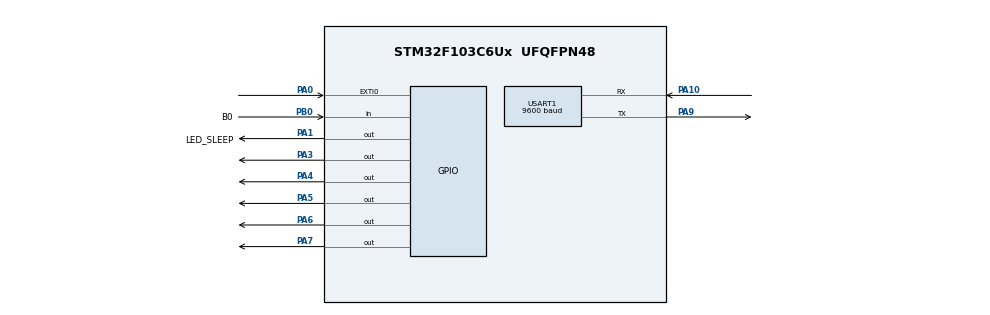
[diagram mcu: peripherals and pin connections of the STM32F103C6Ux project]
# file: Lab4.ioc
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IWDG.Prescaler=IWDG_PRESCALER_32
IWDG.Reload=4095
Mcu.Family=STM32F1
Mcu.Name=STM32F103C6Ux
Mcu.Package=UFQFPN48
NVIC.EXTI0_IRQn=true\:0\:0\:false\:false\:true\:true\:true
NVIC.PriorityGroup=NVIC_PRIORITYGROUP_4
NVIC.TIM2_IRQn=true\:0\:0\:false\:false\:true\:true\:true
NVIC.TIM3_IRQn=true\:0\:0\:false\:false\:true\:true\:true
PA0-WKUP.GPIO_ModeDefaultEXTI=GPIO_MODE_IT_FALLING
PA0-WKUP.GPIO_PuPd=GPIO_PULLUP
PA0-WKUP.Signal=GPXTI0
PA1.GPIO_Label=LED_SLEEP
PA1.Signal=GPIO_Output
PA10.Mode=Asynchronous
PA10.Signal=USART1_RX
PA13.Mode=Serial_Wire
PA13.Signal=SYS_JTMS-SWDIO
PA14.Mode=Serial_Wire
PA14.Signal=SYS_JTCK-SWCLK
PA3.Signal=GPIO_Output
PA4.Signal=GPIO_Output
PA5.Signal=GPIO_Output
PA6.Signal=GPIO_Output
PA7.Signal=GPIO_Output
PA9.Mode=Asynchronous
PA9.Signal=USART1_TX
PB0.GPIO_Label=B0
PB0.GPIO_PuPd=GPIO_PULLUP
PB0.Signal=GPIO_Input
ProjectManager.HeapSize=0x200
ProjectManager.StackSize=0x400
ProjectManager.TargetToolchain=STM32CubeIDE
RCC.APB1Freq_Value=8000000
RCC.APB2Freq_Value=8000000
TIM2.Period=9
TIM2.Prescaler=7999
TIM3.Period=79
TIM3.Prescaler=49999
USART1.BaudRate=9600
USART1.VirtualMode=VM_ASYNC
VP_IWDG_VS_IWDG.Mode=IWDG_Activate
VP_TIM2_VS_ClockSourceINT.Mode=Internal
VP_TIM3_VS_ClockSourceINT.Mode=Internal
board=custom

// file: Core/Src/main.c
/* USER CODE BEGIN Header */
/**
  ******************************************************************************
  * @file           : main.c
  * @brief          : Main program body
  ******************************************************************************
  * @attention
  *
  * <h2><center>&copy; Copyright (c) 2023 STMicroelectronics.
  * All rights reserved.</center></h2>
  *
  * This software component is licensed by ST under BSD 3-Clause license,
  * the "License"; You may not use this file except in compliance with the
  * License. You may obtain a copy of the License at:
  *                        opensource.org/licenses/BSD-3-Clause
  *
  ******************************************************************************
  */
/* USER CODE END Header */
#include "main.h"

/* USER CODE BEGIN Includes */
#include <stdio.h>
#include "scheduler.h"
#include "task.h"
#include "global.h"
#include "watchdog.h"
/* USER CODE END Includes */

IWDG_HandleTypeDef hiwdg;

TIM_HandleTypeDef htim2;
TIM_HandleTypeDef htim3;

UART_HandleTypeDef huart1;

void SystemClock_Config(void);
static void MX_GPIO_Init(void);
static void MX_USART1_UART_Init(void);
static void MX_IWDG_Init(void);
static void MX_TIM2_Init(void);
static void MX_TIM3_Init(void);

/* USER CODE BEGIN 0 */
void SCH_Go_To_Sleep() {
	HAL_SuspendTick();
	HAL_GPIO_WritePin(LED_SLEEP_GPIO_Port, LED_SLEEP_Pin, 0); // Just to indicate sleep mode is active
	HAL_PWR_EnterSLEEPMode(PWR_MAINREGULATOR_ON, PWR_SLEEPENTRY_WFI);
	HAL_ResumeTick();
}
/* USER CODE END 0 */

int main(void)
{

  /* MCU Configuration--------------------------------------------------------*/

  /* Reset of all peripherals, Initializes the Flash interface and the Systick. */
  HAL_Init();

  /* Configure the system clock */
  SystemClock_Config();

  /* Initialize all configured peripherals */
  MX_GPIO_Init();
  MX_USART1_UART_Init();
  MX_IWDG_Init();
  MX_TIM2_Init();
  MX_TIM3_Init();
  /* USER CODE BEGIN 2 */
  HAL_TIM_Base_Start_IT(&htim2);
  HAL_TIM_Base_Start_IT(&htim3);
  /* USER CODE END 2 */

  /* Infinite loop */
  /* USER CODE BEGIN WHILE */

  SCH_Add_Task(&task0, 0, 50);
  SCH_Add_Task(&task1, 3, 100);
  SCH_Add_Task(&task2, 5, 150);
  SCH_Add_Task(&task3, 7, 200);
  SCH_Add_Task(&task4, 9, 250);
  find_new_min_task();
  while (1)
  {
    /* USER CODE END WHILE */
	  SCH_Dispatch_Tasks();
	  	  // turn on LED for indicate when not in sleep mode
	  	  HAL_GPIO_WritePin(LED_SLEEP_GPIO_Port, LED_SLEEP_Pin, 0);
	  	  Watchdog_Refresh();

	  	  // SCH go to sleep, wait for any interrupt.
	  	  SCH_Go_To_Sleep();
	  	  // turn of LED for indicate while MCU is sleeping.
	  	  HAL_GPIO_WritePin(LED_SLEEP_GPIO_Port, LED_SLEEP_Pin, 1);
  }
}

void SystemClock_Config(void)
{
  RCC_OscInitTypeDef RCC_OscInitStruct = {0};
  RCC_ClkInitTypeDef RCC_ClkInitStruct = {0};

  /** Initializes the RCC Oscillators according to the specified parameters
  * in the RCC_OscInitTypeDef structure.
  */
  RCC_OscInitStruct.OscillatorType = RCC_OSCILLATORTYPE_HSI|RCC_OSCILLATORTYPE_LSI;
  RCC_OscInitStruct.HSIState = RCC_HSI_ON;
  RCC_OscInitStruct.HSICalibrationValue = RCC_HSICALIBRATION_DEFAULT;
  RCC_OscInitStruct.LSIState = RCC_LSI_ON;
  RCC_OscInitStruct.PLL.PLLState = RCC_PLL_NONE;
  if (HAL_RCC_OscConfig(&RCC_OscInitStruct) != HAL_OK)
  {
    Error_Handler();
  }
  /** Initializes the CPU, AHB and APB buses clocks
  */
  RCC_ClkInitStruct.ClockType = RCC_CLOCKTYPE_HCLK|RCC_CLOCKTYPE_SYSCLK
                              |RCC_CLOCKTYPE_PCLK1|RCC_CLOCKTYPE_PCLK2;
  RCC_ClkInitStruct.SYSCLKSource = RCC_SYSCLKSOURCE_HSI;
  RCC_ClkInitStruct.AHBCLKDivider = RCC_SYSCLK_DIV1;
  RCC_ClkInitStruct.APB1CLKDivider = RCC_HCLK_DIV1;
  RCC_ClkInitStruct.APB2CLKDivider = RCC_HCLK_DIV1;

  if (HAL_RCC_ClockConfig(&RCC_ClkInitStruct, FLASH_LATENCY_0) != HAL_OK)
  {
    Error_Handler();
  }
}

static void MX_IWDG_Init(void)
{

  hiwdg.Instance = IWDG;
  hiwdg.Init.Prescaler = IWDG_PRESCALER_32;
  hiwdg.Init.Reload = 4095;
  if (HAL_IWDG_Init(&hiwdg) != HAL_OK)
  {
    Error_Handler();
  }

}

static void MX_TIM2_Init(void)
{

  TIM_ClockConfigTypeDef sClockSourceConfig = {0};
  TIM_MasterConfigTypeDef sMasterConfig = {0};

  htim2.Instance = TIM2;
  htim2.Init.Prescaler = 7999;
  htim2.Init.CounterMode = TIM_COUNTERMODE_UP;
  htim2.Init.Period = 9;
  htim2.Init.ClockDivision = TIM_CLOCKDIVISION_DIV1;
  htim2.Init.AutoReloadPreload = TIM_AUTORELOAD_PRELOAD_DISABLE;
  if (HAL_TIM_Base_Init(&htim2) != HAL_OK)
  {
    Error_Handler();
  }
  sClockSourceConfig.ClockSource = TIM_CLOCKSOURCE_INTERNAL;
  if (HAL_TIM_ConfigClockSource(&htim2, &sClockSourceConfig) != HAL_OK)
  {
    Error_Handler();
  }
  sMasterConfig.MasterOutputTrigger = TIM_TRGO_RESET;
  sMasterConfig.MasterSlaveMode = TIM_MASTERSLAVEMODE_DISABLE;
  if (HAL_TIMEx_MasterConfigSynchronization(&htim2, &sMasterConfig) != HAL_OK)
  {
    Error_Handler();
  }

}

static void MX_TIM3_Init(void)
{

  TIM_ClockConfigTypeDef sClockSourceConfig = {0};
  TIM_MasterConfigTypeDef sMasterConfig = {0};

  htim3.Instance = TIM3;
  htim3.Init.Prescaler = 49999;
  htim3.Init.CounterMode = TIM_COUNTERMODE_UP;
  htim3.Init.Period = 79;
  htim3.Init.ClockDivision = TIM_CLOCKDIVISION_DIV1;
  htim3.Init.AutoReloadPreload = TIM_AUTORELOAD_PRELOAD_DISABLE;
  if (HAL_TIM_Base_Init(&htim3) != HAL_OK)
  {
    Error_Handler();
  }
  sClockSourceConfig.ClockSource = TIM_CLOCKSOURCE_INTERNAL;
  if (HAL_TIM_ConfigClockSource(&htim3, &sClockSourceConfig) != HAL_OK)
  {
    Error_Handler();
  }
  sMasterConfig.MasterOutputTrigger = TIM_TRGO_RESET;
  sMasterConfig.MasterSlaveMode = TIM_MASTERSLAVEMODE_DISABLE;
  if (HAL_TIMEx_MasterConfigSynchronization(&htim3, &sMasterConfig) != HAL_OK)
  {
    Error_Handler();
  }

}

static void MX_USART1_UART_Init(void)
{

  huart1.Instance = USART1;
  huart1.Init.BaudRate = 9600;
  huart1.Init.WordLength = UART_WORDLENGTH_8B;
  huart1.Init.StopBits = UART_STOPBITS_1;
  huart1.Init.Parity = UART_PARITY_NONE;
  huart1.Init.Mode = UART_MODE_TX_RX;
  huart1.Init.HwFlowCtl = UART_HWCONTROL_NONE;
  huart1.Init.OverSampling = UART_OVERSAMPLING_16;
  if (HAL_UART_Init(&huart1) != HAL_OK)
  {
    Error_Handler();
  }

}

static void MX_GPIO_Init(void)
{
  GPIO_InitTypeDef GPIO_InitStruct = {0};

  /* GPIO Ports Clock Enable */
  __HAL_RCC_GPIOA_CLK_ENABLE();
  __HAL_RCC_GPIOB_CLK_ENABLE();

  /*Configure GPIO pin Output Level */
  HAL_GPIO_WritePin(GPIOA, LED_SLEEP_Pin|GPIO_PIN_3|GPIO_PIN_4|GPIO_PIN_5
                          |GPIO_PIN_6|GPIO_PIN_7, GPIO_PIN_RESET);

  /*Configure GPIO pin : PA0 */
  GPIO_InitStruct.Pin = GPIO_PIN_0;
  GPIO_InitStruct.Mode = GPIO_MODE_IT_FALLING;
  GPIO_InitStruct.Pull = GPIO_PULLUP;
  HAL_GPIO_Init(GPIOA, &GPIO_InitStruct);

  /*Configure GPIO pins : LED_SLEEP_Pin PA3 PA4 PA5
                           PA6 PA7 */
  GPIO_InitStruct.Pin = LED_SLEEP_Pin|GPIO_PIN_3|GPIO_PIN_4|GPIO_PIN_5
                          |GPIO_PIN_6|GPIO_PIN_7;
  GPIO_InitStruct.Mode = GPIO_MODE_OUTPUT_PP;
  GPIO_InitStruct.Pull = GPIO_NOPULL;
  GPIO_InitStruct.Speed = GPIO_SPEED_FREQ_LOW;
  HAL_GPIO_Init(GPIOA, &GPIO_InitStruct);

  /*Configure GPIO pin : B0_Pin */
  GPIO_InitStruct.Pin = B0_Pin;
  GPIO_InitStruct.Mode = GPIO_MODE_INPUT;
  GPIO_InitStruct.Pull = GPIO_PULLUP;
  HAL_GPIO_Init(B0_GPIO_Port, &GPIO_InitStruct);

  /* EXTI interrupt init*/
  HAL_NVIC_SetPriority(EXTI0_IRQn, 0, 0);
  HAL_NVIC_EnableIRQ(EXTI0_IRQn);

}

/* USER CODE BEGIN 4 */
void HAL_TIM_PeriodElapsedCallback(TIM_HandleTypeDef *htim){
	// timerRun()
	if (htim->Instance == TIM2) {
		timestamp++; // increase timestamp by 10ms
		SCH_Update();
	}

	if (htim->Instance == TIM3) {
		// do something
	}
}

void HAL_GPIO_EXTI_Callback(uint16_t GPIO_Pin)
{

}
/* USER CODE END 4 */

void Error_Handler(void)
{
  __disable_irq();
  while (1)
  {
  }
}

/************************ (C) COPYRIGHT STMicroelectronics *****END OF FILE****/
